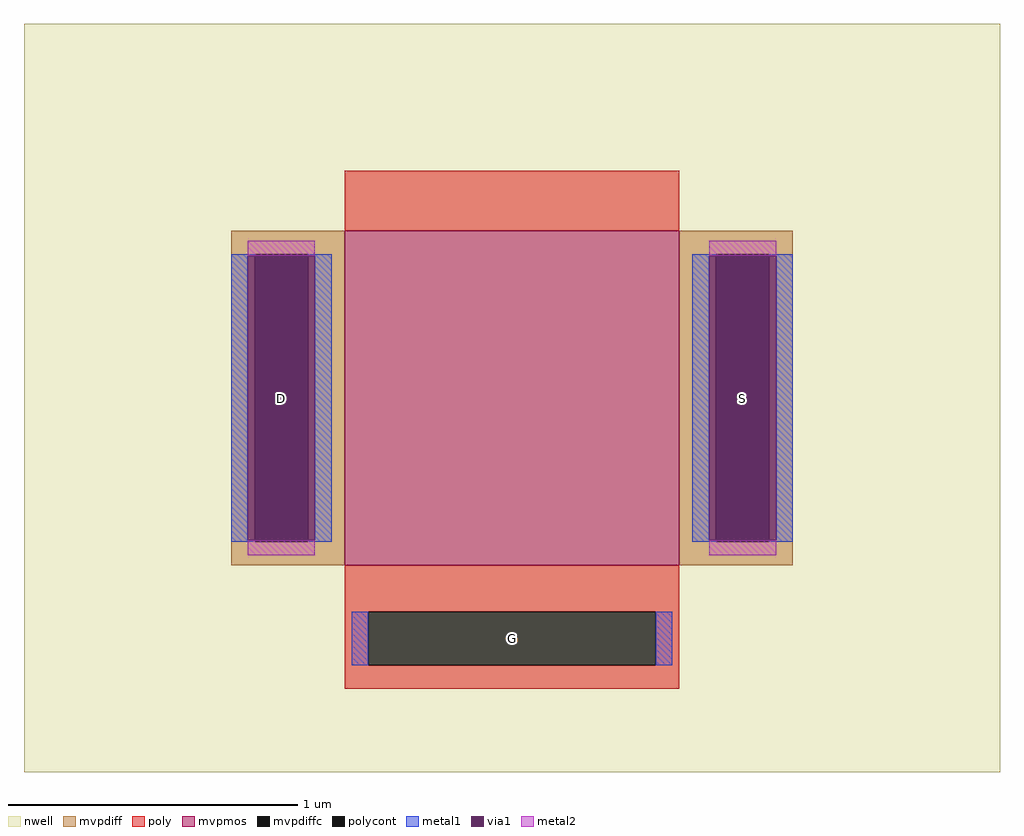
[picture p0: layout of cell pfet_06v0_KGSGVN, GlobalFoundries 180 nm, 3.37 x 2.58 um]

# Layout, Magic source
magic
tech gf180mcuD
magscale 3 26
<< nwell >>
rect -292 -205 292 243
<< mvpmos >>
rect -100 -81 100 119
<< mvpdiff >>
rect -168 105 -100 119
rect -168 -67 -154 105
rect -122 -67 -100 105
rect -168 -81 -100 -67
rect 100 105 168 119
rect 100 -67 122 105
rect 154 -67 168 105
rect 100 -81 168 -67
<< mvpdiffc >>
rect -154 -67 -122 105
rect 122 -67 154 105
<< poly >>
rect -100 119 100 155
rect -100 -109 100 -81
rect -100 -141 -86 -109
rect 86 -141 100 -109
rect -100 -155 100 -141
<< polycont >>
rect -86 -141 86 -109
<< metal1 >>
rect -168 104 -154 105
rect -122 104 -108 105
rect -168 -66 -158 104
rect -118 -66 -108 104
rect -168 -67 -154 -66
rect -122 -67 -108 -66
rect 108 104 122 105
rect 154 104 168 105
rect 108 -66 118 104
rect 158 -66 168 104
rect 108 -67 122 -66
rect 154 -67 168 -66
rect -96 -141 -86 -109
rect 86 -141 96 -109
<< via1 >>
rect -158 -66 -154 104
rect -154 -66 -122 104
rect -122 -66 -118 104
rect 118 -66 122 104
rect 122 -66 154 104
rect 154 -66 158 104
<< metal2 >>
rect -158 104 -118 113
rect -158 -75 -118 -66
rect 118 104 158 113
rect 118 -75 158 -66
<< labels >>
rlabel mvpdiffc -138 19 -138 19 0 D
port 1 nsew
rlabel mvpdiffc 138 19 138 19 0 S
port 2 nsew
rlabel polycont 0 -125 0 -125 0 G
port 3 nsew
<< properties >>
string gencell pfet_05v0
string library gf180mcu
string parameters w 1.0 l 1.0 m 1 ng 1 diffcov 100 polycov 100 guard 0 glc 1 grc 1 gtc 1 gbc 1 tbcov 100 rlcov 100 topc 0 botc 1 poverlap 0 doverlap 1 lmin 0.4 wmin 0.15 class mosfet compatible {pfet_05v0 pfet_06v0} full_metal 1 conn_gates 0 gate_ring 0 ccols 1 viasrc 100 viadrn 100 viagate 0 viagb 0 viagr 0 viagl 0 viagt 0 doports 1
<< end >>
